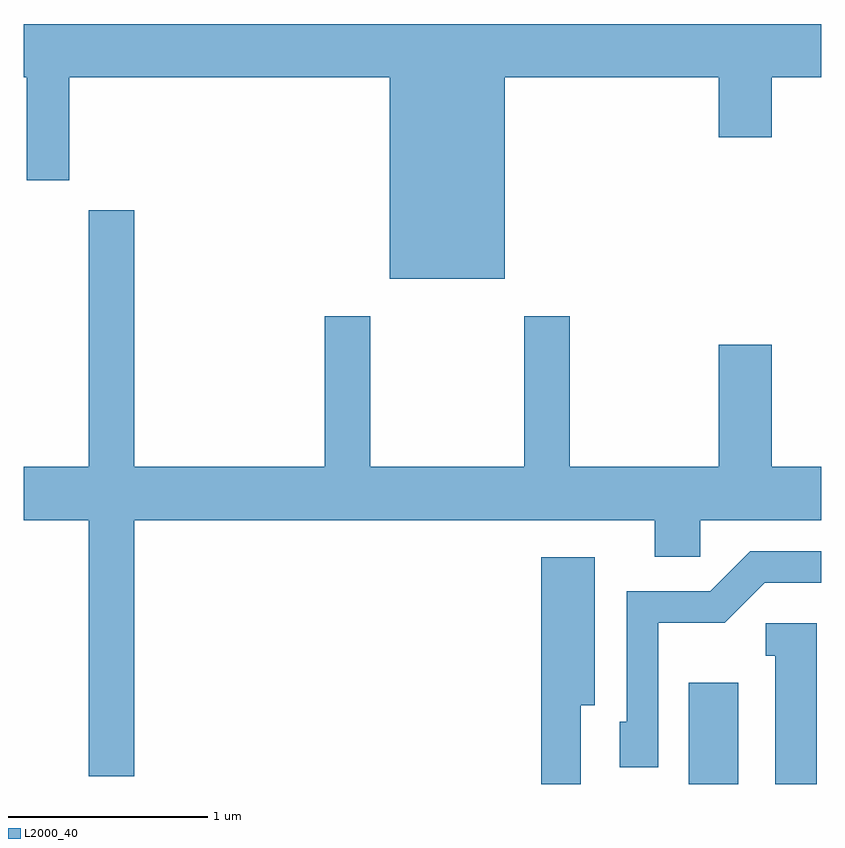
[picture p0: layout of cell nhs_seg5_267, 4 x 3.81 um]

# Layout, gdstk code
import gdstk
lib = gdstk.Library(unit=1e-6, precision=1e-09)
def R(c, l, rs):  # rectangles x0, y0, x1, y1
    for r in rs: c.add(gdstk.rectangle(r[:2], r[2:], *l))
def P(c, l, *ps):  # polygons
    for p in ps: c.add(gdstk.Polygon(p, *l))
L2000_40 = (2000, 40)

nhs_seg5_267 = lib.new_cell('nhs_seg5_267')
R(nhs_seg5_267, L2000_40, [(194.946,1522.072,195.194,1522.579)])
P(nhs_seg5_267, L2000_40, [(194.024,1525.616),(195.096,1525.616),(195.096,1525.316),(195.364,1525.316),(195.364,1525.616),(195.611,1525.616),(195.611,1525.884),(191.611,1525.884),(191.611,1525.616),(191.626,1525.616),(191.626,1525.101),(191.839,1525.101),(191.839,1525.616),(193.446,1525.616),(193.446,1524.606),(194.024,1524.606)],
  [(192.164,1523.396),(194.776,1523.396),(194.776,1523.211),(195.004,1523.211),(195.004,1523.396),(195.611,1523.396),(195.611,1523.664),(195.364,1523.664),(195.364,1524.274),(195.096,1524.274),(195.096,1523.664),(194.349,1523.664),(194.349,1524.419),(194.121,1524.419),(194.121,1523.664),(193.349,1523.664),(193.349,1524.419),(193.121,1524.419),(193.121,1523.664),(192.164,1523.664),(192.164,1524.949),(191.936,1524.949),(191.936,1523.664),(191.611,1523.664),(191.611,1523.396),(191.936,1523.396),(191.936,1522.111),(192.164,1522.111)],
  [(194.794,1522.881),(195.127,1522.881),(195.327,1523.081),(195.611,1523.081),(195.611,1523.239),(195.254,1523.239),(195.054,1523.039),(194.636,1523.039),(194.636,1522.384),(194.601,1522.384),(194.601,1522.156),(194.794,1522.156)],
  [(194.404,1522.466),(194.474,1522.466),(194.474,1523.209),(194.206,1523.209),(194.206,1522.072),(194.404,1522.072)],
  [(195.589,1522.879),(195.333,1522.879),(195.333,1522.716),(195.381,1522.716),(195.381,1522.072),(195.589,1522.072)])

lib.write_gds('nhs_seg5_267.gds')
